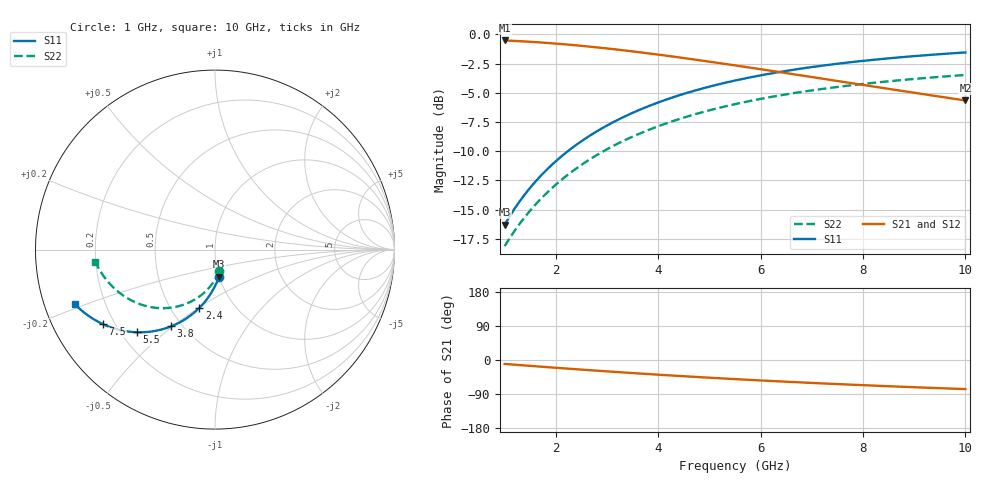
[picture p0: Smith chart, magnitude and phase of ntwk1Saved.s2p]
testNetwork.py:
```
import unittest
import mwavepy as mv



		
class NetworkTestCase(unittest.TestCase):
	'''
	Network class operation test case. 
	
	 As tested by lihan in ADS the following is true:
		test 3 == test1 ** test2
	
	'''
	def setUp(self):
		'''
		this also tests the ability to read touchstone files
		without an error
		'''
		self.ntwk1 =mv.Network('./ntwk1.s2p')
		self.ntwk2 =mv.Network('./ntwk2.s2p')
		self.ntwk3 =mv.Network('./ntwk3.s2p')
	
	
	def test_open_saved_touchstone(self):
		self.ntwk1.write_touchstone('./ntwk1Saved')
		ntwk1Saved = mv.Network('./ntwk1Saved.s2p')
		self.assertEqual(self.ntwk1, ntwk1Saved)
		
	def test_cascade(self):
		self.assertEqual(self.ntwk1**self.ntwk2, self.ntwk3)
		
	def test_connect(self):
		self.assertEqual(mv.connect(self.ntwk1,1,self.ntwk2,0), \
			self.ntwk3)

	def test_de_embed_by_inv(self):
		self.assertEqual(self.ntwk1.inv**self.ntwk3,self.ntwk2)
		self.assertEqual(self.ntwk3**self.ntwk2.inv,self.ntwk1)

	def test_plot_one_port_db(self):
		self.ntwk1.plot_s_db(0,0)
	def test_plot_one_port_deg(self):
		self.ntwk1.plot_s_deg(0,0)
	def test_plot_one_port_smith(self):
		self.ntwk1.plot_s_smith(0,0)
	
	def test_plot_two_port_db(self):
		self.ntwk1.plot_s_db()
	def test_plot_two_port_deg(self):
		self.ntwk1.plot_s_deg()
	def test_plot_two_port_smith(self):
		self.ntwk1.plot_s_smith()
		

suite = unittest.TestLoader().loadTestsFromTestCase(NetworkTestCase)
unittest.TextTestRunner(verbosity=2).run(suite)
```
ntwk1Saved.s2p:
!Created with mwavepy.
# GHz S RI R 50.0
!freq	ReS11	ImS11	ReS21	ImS21	ReS12	ImS12	ReS22	ImS22
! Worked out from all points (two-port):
!   91 points, 1 GHz to 10 GHz, reference 50 ohm
!   highest |S21| = -0.52 dB at 1 GHz (marker M1); lowest = -5.7 dB at 10 GHz (marker M2)
!   |S21| within 3 dB of the highest: start of sweep to 6.804 GHz
!   lowest |S11| = -16.3 dB at 1 GHz (marker M3), VSWR 1.36, Z = 49.8 - j15.5 ohm
!   |S11| at or under -10 dB: start of sweep to 2.236 GHz
!   |S22| runs from -18.1 to -3.5 dB; largest |S21 - S12| = 0
!   S11 on the Smith chart (normalised r, x): 1 GHz: 1.00, -0.31; 2.4 GHz: 0.69, -0.50; 3.8 GHz: 0.44, -0.49; 5.5 GHz: 0.26, -0.40; 7.5 GHz: 0.16, -0.30; 10 GHz: 0.09, -0.19
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1  0.0218 -0.1515  0.9267 -0.1701  0.9267 -0.1701  0.0235 -0.1217
! Port Impedance 50.00000000000000 0.00000000000000 50.00000000000000 0.00000000000000
1.3  0.00459 -0.1937  0.9097 -0.2179  0.9097 -0.2179  0.00742 -0.1551
1.6  -0.0164 -0.2335  0.8888 -0.2633  0.8888 -0.2633  -0.0122 -0.1861
2.4  -0.0877 -0.325  0.8179 -0.3702  0.8179 -0.3702  -0.0784 -0.255
3.1  -0.1629 -0.3856  0.7432 -0.4443  0.7432 -0.4443  -0.1478 -0.2963
3.8  -0.2437 -0.4273  0.6627 -0.5  0.6627 -0.5  -0.2218 -0.3197
4.6  -0.3369 -0.4536  0.5696 -0.5425  0.5696 -0.5425  -0.3061 -0.326
5.5  -0.4367 -0.4604  0.4696 -0.5678  0.4696 -0.5678  -0.3947 -0.3114
7.5  -0.6226 -0.4161  0.2818 -0.5656  0.2818 -0.5656  -0.5519 -0.2241
8.7  -0.7076 -0.3669  0.1946 -0.5419  0.1946 -0.5419  -0.6176 -0.1518
10  -0.7796 -0.3049  0.1192 -0.5077  0.1192 -0.5077  -0.6672 -0.067
